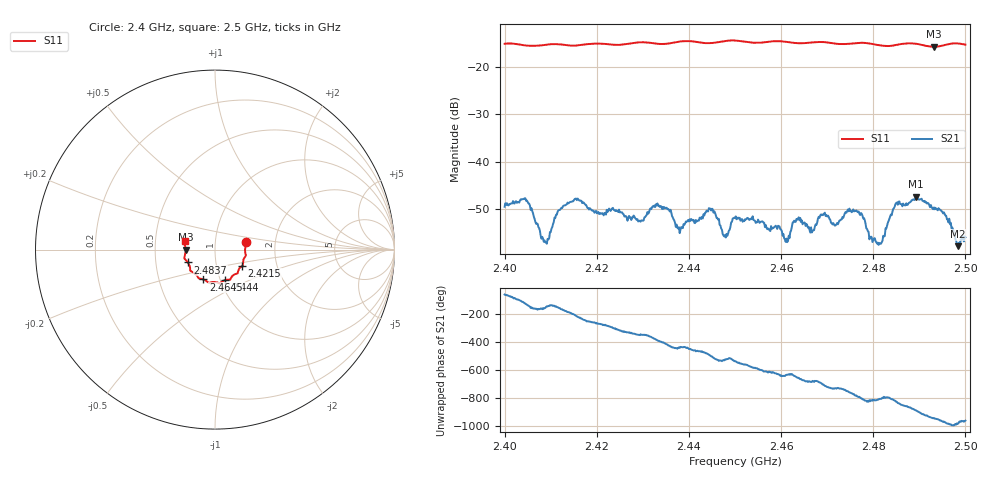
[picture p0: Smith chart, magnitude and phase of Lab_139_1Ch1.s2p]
# Hz S RI R 50
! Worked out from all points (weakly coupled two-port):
!   601 points, 2.4 GHz to 2.5 GHz, reference 50 ohm
!   highest |S21| = -47.38 dB at 2.4893 GHz (marker M1); lowest = -57.9 dB at 2.4983 GHz (marker M2)
!   lowest |S11| = -15.7 dB at 2.4932 GHz (marker M3), VSWR 1.39, Z = 35.9 - j0.0526 ohm
!   |S11| at or under -10 dB: start of sweep to end of sweep
!   S12 and S22 are empty: the file has one direction only
!   S11 on the Smith chart (normalised r, x): 2.4 GHz: 1.41, +0.12; 2.4215 GHz: 1.33, -0.25; 2.444 GHz: 1.06, -0.37; 2.4645 GHz: 0.83, -0.29; 2.4837 GHz: 0.73, -0.11; 2.5 GHz: 0.71, +0.07
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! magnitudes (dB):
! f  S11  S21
! 2.4 GHz  -15.1  -49.5
! 2.4047 GHz  -15.5  -48.3
! 2.409 GHz  -15.3  -57.2
! 2.412 GHz  -15.2  -50.2
! 2.4167 GHz  -15.3  -48.3
! 2.4215 GHz  -15.1  -51.4
! 2.4333 GHz  -15.1  -49.3
! 2.438 GHz  -14.6  -55.1
! 2.444 GHz  -15.0  -50.5
! 2.4478 GHz  -14.5  -55.5
! 2.45 GHz  -14.4  -52.0
! 2.4612 GHz  -14.7  -56.3
! 2.4645 GHz  -15.0  -52.4
! 2.4667 GHz  -14.8  -55.0
! 2.4762 GHz  -15.0  -50.4
! 2.4813 GHz  -15.4  -57.2
! 2.4833 GHz  -15.6  -52.5
! 2.4837 GHz  -15.5  -51.6
! 2.4893 GHz  -15.1  -47.4
! 2.4932 GHz  -15.7  -49.7
! 2.4983 GHz  -15.0  -57.9
! 2.5 GHz  -15.3  -56.0
